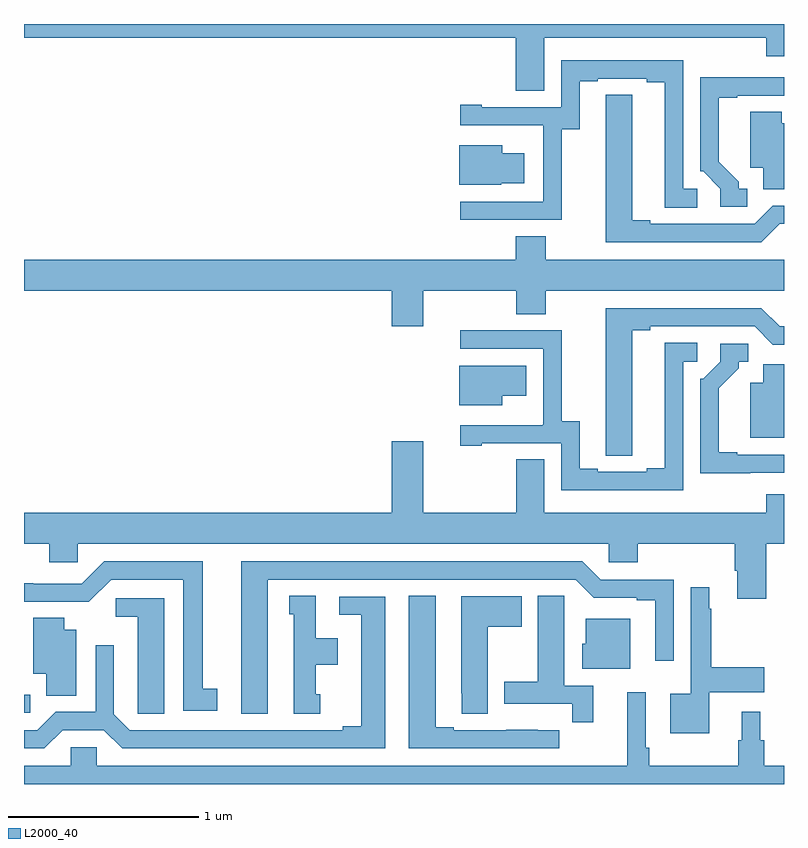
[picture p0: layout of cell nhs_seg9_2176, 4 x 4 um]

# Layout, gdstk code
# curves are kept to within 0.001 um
import gdstk
lib = gdstk.Library(unit=1e-6, precision=1e-09)
def R(c, l, rs):  # rectangles x0, y0, x1, y1
    for r in rs: c.add(gdstk.rectangle(r[:2], r[2:], *l))
def P(c, l, *ps):  # polygons
    for p in ps: c.add(gdstk.Polygon(p, *l))
L2000_40 = (2000, 40)

nhs_seg9_2176 = lib.new_cell('nhs_seg9_2176')
R(nhs_seg9_2176, L2000_40, [(235,1184.874,235.033,1184.97)])
P(nhs_seg9_2176, L2000_40, [(237.739,1188.428),(238.907,1188.428),(238.907,1188.33),(239,1188.33),(239,1188.5),(235,1188.5),(235,1188.428),(237.587,1188.428),(237.587,1188.148),(237.739,1188.148)],
  [(237.831,1187.947),(237.925,1187.947),(237.925,1188.198),(238.021,1188.198),(238.021,1188.213),(238.277,1188.213),(238.277,1188.193),(238.373,1188.193),(238.373,1187.533),(238.543,1187.533),(238.543,1187.634),(238.47,1187.634),(238.47,1188.309),(237.828,1188.309),(237.828,1188.063),(237.409,1188.063),(237.409,1188.076),(237.297,1188.076),(237.297,1187.967),(237.731,1187.967),(237.731,1187.966),(237.732,1187.966),(237.732,1187.565),(237.297,1187.565),(237.297,1187.469),(237.831,1187.469)],
  [(238.807,1187.634),(238.762,1187.634),(238.762,1187.669),(238.657,1187.774),(238.657,1188.111),(238.753,1188.111),(238.753,1188.123),(239,1188.123),(239,1188.219),(238.823,1188.219),(238.823,1188.221),(238.56,1188.221),(238.56,1187.724),(238.575,1187.724),(238.665,1187.634),(238.665,1187.538),(238.807,1187.538)],
  [(238.977,1187.448),(239,1187.448),(239,1187.544),(238.941,1187.544),(238.845,1187.448),(238.297,1187.448),(238.297,1187.468),(238.201,1187.468),(238.201,1188.128),(238.062,1188.128),(238.061,1187.352),(238.881,1187.352)],
  [(239,1187.977),(238.987,1187.977),(238.987,1188.038),(238.823,1188.038),(238.823,1187.744),(238.892,1187.744),(238.892,1187.629),(239,1187.629)],
  [(237.513,1187.663),(237.634,1187.663),(237.634,1187.821),(237.517,1187.821),(237.517,1187.863),(237.29,1187.863),(237.29,1187.654),(237.513,1187.654)],
  [(237.1,1187.096),(237.592,1187.096),(237.592,1186.972),(237.747,1186.972),(237.747,1187.096),(239,1187.096),(239,1187.26),(237.747,1187.26),(237.747,1187.384),(237.587,1187.384),(237.587,1187.26),(235,1187.26),(235,1187.096),(236.936,1187.096),(236.936,1186.908),(237.1,1186.908)],
  [(238.201,1186.888),(238.297,1186.888),(238.297,1186.908),(238.845,1186.908),(238.941,1186.812),(239,1186.812),(239,1186.908),(238.977,1186.908),(238.881,1187.004),(238.061,1187.004),(238.062,1186.228),(238.201,1186.228)],
  [(238.47,1186.722),(238.543,1186.722),(238.543,1186.823),(238.373,1186.823),(238.373,1186.163),(238.277,1186.163),(238.277,1186.143),(238.021,1186.143),(238.021,1186.158),(237.925,1186.158),(237.925,1186.409),(237.831,1186.409),(237.831,1186.887),(237.297,1186.887),(237.297,1186.791),(237.732,1186.791),(237.732,1186.39),(237.731,1186.39),(237.731,1186.389),(237.297,1186.389),(237.297,1186.281),(237.409,1186.281),(237.409,1186.293),(237.828,1186.293),(237.828,1186.047),(238.47,1186.047)],
  [(238.823,1186.137),(239,1186.137),(239,1186.233),(238.753,1186.233),(238.753,1186.246),(238.657,1186.246),(238.657,1186.582),(238.762,1186.687),(238.762,1186.722),(238.812,1186.722),(238.812,1186.818),(238.665,1186.818),(238.665,1186.722),(238.575,1186.632),(238.56,1186.632),(238.56,1186.136)],
  [(239,1186.71),(238.892,1186.71),(238.892,1186.612),(238.823,1186.612),(238.823,1186.322),(239,1186.322)],
  [(237.517,1186.544),(237.643,1186.544),(237.643,1186.702),(237.29,1186.702),(237.29,1186.493),(237.517,1186.493)],
  [(238.907,1185.764),(239,1185.764),(239,1186.026),(238.907,1186.026),(238.907,1185.928),(237.739,1185.928),(237.739,1186.208),(237.592,1186.208),(237.592,1185.928),(237.1,1185.928),(237.1,1186.303),(236.936,1186.303),(236.936,1185.928),(235,1185.928),(235,1185.764),(235.133,1185.764),(235.133,1185.666),(235.284,1185.666),(235.284,1185.764),(238.077,1185.764),(238.077,1185.666),(238.229,1185.666),(238.229,1185.764),(238.742,1185.764),(238.742,1185.622),(238.754,1185.622),(238.754,1185.474),(238.907,1185.474)],
  [(236.017,1185.002),(235.942,1185.002),(235.942,1185.672),(235.422,1185.672),(235.305,1185.555),(235.049,1185.555),(235.049,1185.557),(235,1185.557),(235,1185.459),(235.34,1185.458),(235.458,1185.576),(235.838,1185.576),(235.838,1184.886),(236.017,1184.886)],
  [(236.284,1185.576),(237.903,1185.576),(237.999,1185.48),(238.226,1185.48),(238.226,1185.468),(238.322,1185.468),(238.322,1185.15),(238.419,1185.15),(238.419,1185.576),(238.035,1185.576),(237.939,1185.672),(236.144,1185.672),(236.144,1184.871),(236.284,1184.871)],
  [(238.606,1184.984),(238.897,1184.984),(238.897,1185.114),(238.618,1185.114),(238.618,1185.422),(238.606,1185.422),(238.606,1185.535),(238.509,1185.535),(238.509,1184.974),(238.4,1184.974),(238.4,1184.768),(238.606,1184.768)],
  [(237.995,1185.018),(237.844,1185.018),(237.844,1185.38),(237.843,1185.38),(237.843,1185.491),(237.704,1185.491),(237.704,1185.039),(237.527,1185.039),(237.527,1184.922),(237.886,1184.922),(237.886,1184.826),(237.995,1184.826)],
  [(236.56,1184.973),(236.536,1184.973),(236.536,1185.128),(236.65,1185.128),(236.65,1185.268),(236.536,1185.268),(236.536,1185.491),(236.396,1185.491),(236.396,1185.393),(236.42,1185.393),(236.42,1184.871),(236.56,1184.871)],
  [(237.817,1184.784),(237.704,1184.784),(237.704,1184.785),(237.538,1184.785),(237.538,1184.784),(237.262,1184.784),(237.262,1184.799),(237.166,1184.799),(237.166,1185.491),(237.026,1185.491),(237.026,1184.688),(237.817,1184.688)],
  [(237.442,1185.328),(237.619,1185.328),(237.619,1185.487),(237.302,1185.487),(237.302,1184.977),(237.303,1184.977),(237.303,1184.869),(237.442,1184.869)],
  [(235.203,1184.784),(235.421,1184.784),(235.517,1184.688),(236.902,1184.688),(236.902,1185.486),(236.658,1185.486),(236.658,1185.39),(236.774,1185.39),(236.774,1184.804),(236.678,1184.804),(236.678,1184.784),(235.557,1184.784),(235.473,1184.868),(235.473,1185.229),(235.377,1185.229),(235.377,1184.88),(235.167,1184.88),(235.071,1184.784),(235,1184.784),(235,1184.688),(235.107,1184.688)],
  [(235.738,1185.477),(235.482,1185.477),(235.482,1185.38),(235.598,1185.38),(235.598,1184.977),(235.599,1184.977),(235.599,1184.869),(235.738,1184.869)],
  [(235.276,1185.313),(235.213,1185.313),(235.213,1185.374),(235.049,1185.374),(235.049,1185.08),(235.118,1185.08),(235.118,1184.965),(235.276,1184.965)],
  [(238.192,1185.37),(237.956,1185.37),(237.956,1185.237),(237.938,1185.237),(237.938,1185.107),(238.192,1185.107)],
  [(239,1184.596),(238.895,1184.596),(238.895,1184.73),(238.876,1184.73),(238.876,1184.881),(238.778,1184.881),(238.778,1184.73),(238.759,1184.73),(238.759,1184.596),(238.292,1184.596),(238.292,1184.692),(238.272,1184.692),(238.272,1184.983),(238.175,1184.983),(238.175,1184.596),(235.383,1184.596),(235.383,1184.694),(235.245,1184.694),(235.245,1184.596),(235,1184.596),(235,1184.5),(239,1184.5)])

lib.write_gds('nhs_seg9_2176.gds')
